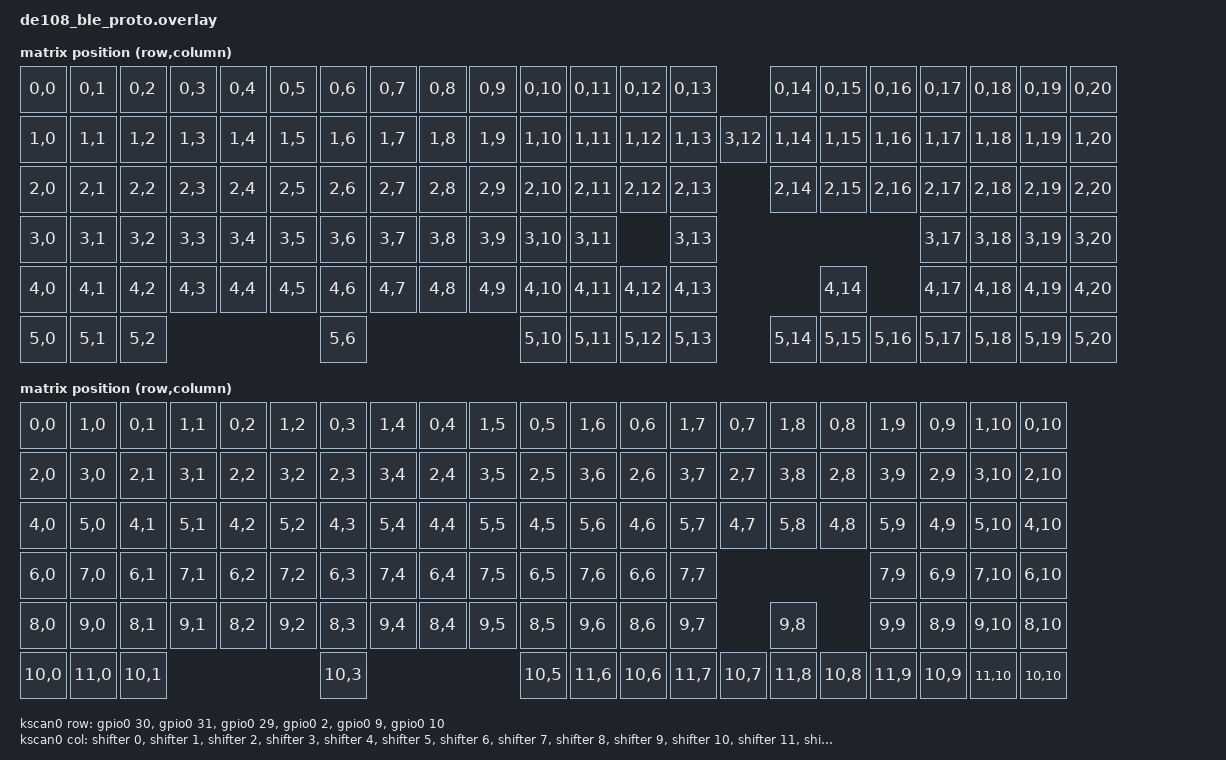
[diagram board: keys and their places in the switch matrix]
#include <dt-bindings/zmk/matrix_transform.h>
#include <physical_layouts.dtsi>
#include <dt-bindings/led/led.h>

/ {
    chosen {
        zmk,kscan = &kscan0;
        zmk,underglow = &led_strip;
        zmk,battery = &vbatt;
        zmk,physical-layout = &layout_fullsize;
    };

    /* ================= MATRIX ================= */

    kscan0: kscan {
        compatible = "zmk,kscan-gpio-matrix";
        label = "KSCAN";
        wakeup-source;
        diode-direction = "col2row";

        /* 18 columns via 74HC595 */
        col-gpios
            = <&shifter 0 GPIO_ACTIVE_LOW>
            , <&shifter 1 GPIO_ACTIVE_LOW>
            , <&shifter 2 GPIO_ACTIVE_LOW>
            , <&shifter 3 GPIO_ACTIVE_LOW>
            , <&shifter 4 GPIO_ACTIVE_LOW>
            , <&shifter 5 GPIO_ACTIVE_LOW>
            , <&shifter 6 GPIO_ACTIVE_LOW>
            , <&shifter 7 GPIO_ACTIVE_LOW>
            , <&shifter 8 GPIO_ACTIVE_LOW>
            , <&shifter 9 GPIO_ACTIVE_LOW>
            , <&shifter 10 GPIO_ACTIVE_LOW>
            , <&shifter 11 GPIO_ACTIVE_LOW>
            , <&shifter 12 GPIO_ACTIVE_LOW>
            , <&shifter 13 GPIO_ACTIVE_LOW>
            , <&shifter 14 GPIO_ACTIVE_LOW>
            , <&shifter 15 GPIO_ACTIVE_LOW>
            , <&shifter 16 GPIO_ACTIVE_LOW>
            , <&shifter 17 GPIO_ACTIVE_LOW>
            , <&shifter 18 GPIO_ACTIVE_LOW>
            , <&shifter 19 GPIO_ACTIVE_LOW>
            , <&shifter 20 GPIO_ACTIVE_LOW>
            ;

        /* 6 rows (GPIO trực tiếp) */
        row-gpios
            = <&gpio0 30 (GPIO_ACTIVE_LOW | GPIO_PULL_UP)>
            , <&gpio0 31 (GPIO_ACTIVE_LOW | GPIO_PULL_UP)>
            , <&gpio0 29 (GPIO_ACTIVE_LOW | GPIO_PULL_UP)>
            , <&gpio0 2  (GPIO_ACTIVE_LOW | GPIO_PULL_UP)>
            , <&gpio0 9  (GPIO_ACTIVE_LOW | GPIO_PULL_UP)>
            , <&gpio0 10 (GPIO_ACTIVE_LOW | GPIO_PULL_UP)>
            ;
    };

    /* ================= MATRIX TRANSFORM ================= */

matrix_transform_fullsize_108_normal: matrix_transform_fullsize_108_normal {
    compatible = "zmk,matrix-transform";
    columns = <21>;
    rows = <6>;
    map = <

    /*  esc     f1      f2      f3      f4      f5      f6      f7      f8      f9      f10      f11      f12      f13                  prt      scr      pause         calc     mute     voldn    volup  */
        RC(0,0) RC(0,1) RC(0,2) RC(0,3) RC(0,4) RC(0,5) RC(0,6) RC(0,7) RC(0,8) RC(0,9) RC(0,10) RC(0,11) RC(0,12) RC(0,13)             RC(0,14) RC(0,15) RC(0,16)      RC(0,17) RC(0,18) RC(0,19) RC(0,20)

    /*  `       1       2       3       4       5       6       7       8       9       0        -        =        bs       bs          ins      home     pgup          num      /        *        -      */
        RC(1,0) RC(1,1) RC(1,2) RC(1,3) RC(1,4) RC(1,5) RC(1,6) RC(1,7) RC(1,8) RC(1,9) RC(1,10) RC(1,11) RC(1,12) RC(1,13) RC(3,12)    RC(1,14) RC(1,15) RC(1,16)      RC(1,17) RC(1,18) RC(1,19) RC(1,20)

    /*  tab     q       w       e       r       t       y       u       i       o       p        [        ]        \                    del      end      pgdn          7        8        9        +       */
        RC(2,0) RC(2,1) RC(2,2) RC(2,3) RC(2,4) RC(2,5) RC(2,6) RC(2,7) RC(2,8) RC(2,9) RC(2,10) RC(2,11) RC(2,12) RC(2,13)             RC(2,14) RC(2,15) RC(2,16)      RC(2,17) RC(2,18) RC(2,19) RC(2,20)

    /*  caps    a       s       d       f       g       h       j       k       l       ;        '                 enter                                                4        5        6        +       */
        RC(3,0) RC(3,1) RC(3,2) RC(3,3) RC(3,4) RC(3,5) RC(3,6) RC(3,7) RC(3,8) RC(3,9) RC(3,10) RC(3,11)          RC(3,13)                                             RC(3,17) RC(3,18) RC(3,19) RC(3,20)

    /*  lshift  nubs    z       x       c       v       b       n       m       ,       .        /        rshift   rshift                        up                     1        2        3        enter   */
        RC(4,0) RC(4,1) RC(4,2) RC(4,3) RC(4,4) RC(4,5) RC(4,6) RC(4,7) RC(4,8) RC(4,9) RC(4,10) RC(4,11) RC(4,12) RC(4,13)                      RC(4,14)               RC(4,17) RC(4,18) RC(4,19) RC(4,20)

    /*  lctrl   lwin    lalt                            space                           ralt     menu     fn       rctrl                left     down     right         0        0        dot      enter   */
        RC(5,0) RC(5,1) RC(5,2)                         RC(5,6)                         RC(5,10) RC(5,11) RC(5,12) RC(5,13)             RC(5,14) RC(5,15) RC(5,16)      RC(5,17) RC(5,18) RC(5,19) RC(5,20)

    >;
};

matrix_transform_fullsize_108_duplex: matrix_transform_fullsize_108_duplex {
    compatible = "zmk,matrix-transform";
    columns = <11>;
    rows = <12>;
    map = <

    /*  esc      f1       f2      f3      f4      f5      f6      f7      f8      f9      f10      f11      f12      f13      prt     scr     pause        calc     mute     voldn     volup  */
        RC(0,0)  RC(1,0)  RC(0,1) RC(1,1) RC(0,2) RC(1,2) RC(0,3) RC(1,4) RC(0,4) RC(1,5) RC(0,5) RC(1,6) RC(0,6) RC(1,7)     RC(0,7) RC(1,8) RC(0,8)      RC(1,9)  RC(0,9)  RC(1,10)  RC(0,10)

    /*  `        1        2       3       4       5       6       7       8       9       0       -        =      bs          ins     home    pgup         num      /        *         -      */
        RC(2,0)  RC(3,0)  RC(2,1) RC(3,1) RC(2,2) RC(3,2) RC(2,3) RC(3,4) RC(2,4) RC(3,5) RC(2,5) RC(3,6) RC(2,6) RC(3,7)     RC(2,7) RC(3,8) RC(2,8)      RC(3,9)  RC(2,9)  RC(3,10)  RC(2,10)

    /*  tab      q        w       e       r       t       y       u       i       o       p       [        ]      bs          del     end     pgdn         7        8        9         +       */
        RC(4,0)  RC(5,0)  RC(4,1) RC(5,1) RC(4,2) RC(5,2) RC(4,3) RC(5,4) RC(4,4) RC(5,5) RC(4,5) RC(5,6) RC(4,6) RC(5,7)     RC(4,7) RC(5,8) RC(4,8)      RC(5,9)  RC(4,9)  RC(5,10)  RC(4,10)

    /*  caps     a        s       d       f       g       h       j       k       l       ;        '       \      enter                                    4        5        6         +       */
        RC(6,0)  RC(7,0)  RC(6,1) RC(7,1) RC(6,2) RC(7,2) RC(6,3) RC(7,4) RC(6,4) RC(7,5) RC(6,5) RC(7,6) RC(6,6) RC(7,7)                                  RC(7,9)  RC(6,9)  RC(7,10)  RC(6,10)

    /*  lshift   nubs     z       x       c       v       b       n       m       ,       .        /      rshift  rshift              up                   1        2        3         enter   */
        RC(8,0)  RC(9,0)  RC(8,1) RC(9,1) RC(8,2) RC(9,2) RC(8,3) RC(9,4) RC(8,4) RC(9,5) RC(8,5) RC(9,6) RC(8,6) RC(9,7)             RC(9,8)              RC(9,9)  RC(8,9)  RC(9,10)  RC(8,10)

    /*  lctrl    lwin     lalt                            space                           ralt     menu     fn       rctrl    left     down     right      0        0        dot       enter   */
        RC(10,0) RC(11,0) RC(10,1)                        RC(10,3)                        RC(10,5) RC(11,6) RC(10,6) RC(11,7) RC(10,7) RC(11,8) RC(10,8)   RC(11,9) RC(10,9) RC(11,10) RC(10,10)

    >;
};


    /* ================= BATTERY ================= */

    vbatt: vbatt {
        compatible = "zmk,battery-voltage-divider";
        io-channels = <&adc 0>;
        output-ohms = <470000>;
        full-ohms = <(470000 + 1000000)>;
    };
};

/* ================= SPI ================= */

&spi0 {
    compatible = "nordic,nrf-spim";
    status = "okay";

    sck-pin = <3>;     /* P0.03 */
    mosi-pin = <28>;   /* dummy nếu cần */
    miso-pin = <255>;

    cs-gpios = <&gpio1 9 GPIO_ACTIVE_LOW>;

    shifter: 595@0 {
        compatible = "zmk,gpio-595";
        status = "okay";
        gpio-controller;

        spi-max-frequency = <8000000>;
        reg = <0>;
        #gpio-cells = <2>;
        ngpios = <24>; /* đủ cho 18 col */
    };
};

/* ================= WS2812 ================= */

&spi3 {
    compatible = "nordic,nrf-spim";
    status = "okay";

    led_strip: ws2812@0 {
        compatible = "worldsemi,ws2812-spi";
        reg = <0>;

        spi-max-frequency = <4000000>;
        chain-length = <10>;

        spi-one-frame = <0x70>;
        spi-zero-frame = <0x40>;

        color-mapping = <LED_COLOR_ID_GREEN LED_COLOR_ID_RED LED_COLOR_ID_BLUE>;
    };
};

/* ================= LAYOUT ================= */

/ {
    layout_fullsize: layout_fullsize {
        compatible = "zmk,physical-layout";
        display-name = "FULLSIZE_104";
        transform = <&matrix_transform_fullsize_108_normal>;
    };
};
